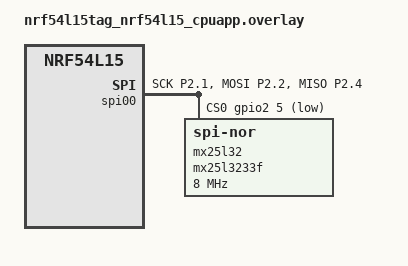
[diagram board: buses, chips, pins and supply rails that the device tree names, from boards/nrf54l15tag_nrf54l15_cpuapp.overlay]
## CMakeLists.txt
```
cmake_minimum_required(VERSION 3.20.0)

find_package(Zephyr REQUIRED HINTS $ENV{ZEPHYR_BASE})
project(tag_nor_dpd LANGUAGES C)

target_sources(app PRIVATE src/main.c)
```

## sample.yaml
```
sample:
  name: Tag NOR Deep Power-Down Isolation Test
  description: >
    HIL: stress MX25L3233F reads/writes/reboots with runtime-PM deep power-down
    (as in juxta6-0-prod 6.5.2) in the last 64 KB only. Reports one RESULT line.

common:
  tags:
    - tag
    - bringup
    - flash

tests:
  applications.tag-nor-dpd:
    platform_allow:
      - nrf54l15tag/nrf54l15/cpuapp
    harness: console
```

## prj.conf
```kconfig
# HIL: MX25L3233F deep power-down (runtime PM) isolation test for juxta6-0-prod.
# Mirrors the prod NOR/PM configuration; see README.md.
CONFIG_FLASH=y
CONFIG_SPI=y
CONFIG_SPI_NOR=y
CONFIG_SPI_NOR_SFDP_RUNTIME=y
CONFIG_FLASH_PAGE_LAYOUT=y
CONFIG_PM_DEVICE=y
# Control build (rpm_off.conf) sets this to n. Driver default
# CONFIG_SPI_NOR_ACTIVE_DWELL_MS=10 is intentionally kept, same as prod.
CONFIG_PM_DEVICE_RUNTIME=y
CONFIG_HWINFO=y
CONFIG_REBOOT=y

CONFIG_LOG=y
CONFIG_LOG_DEFAULT_LEVEL=3

CONFIG_MAIN_STACK_SIZE=4096
```

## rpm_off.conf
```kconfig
# Control build: no runtime PM, so the NOR is never put into deep power-down
# between flash API calls (the DT zephyr,pm-device-runtime-auto is inert).
CONFIG_PM_DEVICE_RUNTIME=n
```

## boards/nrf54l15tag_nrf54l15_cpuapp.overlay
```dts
/*
 * tag-nor-dpd: MX25L3233F (32 Mbit) on spi00, identical NOR node to
 * juxta6-0-prod (has-dpd + zephyr,pm-device-runtime-auto + deferred-init).
 * Keep in sync with applications/juxta6-0-prod/boards/*.overlay.
 */

/ {
	aliases {
		spi-flash0 = &mx25l32;
		spi-mem = &mx25l32;
	};
};

&pinctrl {
	spi00_default: spi00_default {
		group1 {
			psels = <NRF_PSEL(SPIM_SCK, 2, 1)>,
				<NRF_PSEL(SPIM_MOSI, 2, 2)>,
				<NRF_PSEL(SPIM_MISO, 2, 4)>;
		};
	};

	spi00_sleep: spi00_sleep {
		group1 {
			psels = <NRF_PSEL(SPIM_SCK, 2, 1)>,
				<NRF_PSEL(SPIM_MOSI, 2, 2)>,
				<NRF_PSEL(SPIM_MISO, 2, 4)>;
			low-power-enable;
		};
	};
};

&spi00 {
	status = "okay";
	cs-gpios = <&gpio2 5 GPIO_ACTIVE_LOW>;
	pinctrl-0 = <&spi00_default>;
	pinctrl-1 = <&spi00_sleep>;
	pinctrl-names = "default", "sleep";

	mx25l32: mx25l3233f@0 {
		compatible = "jedec,spi-nor";
		status = "okay";
		reg = <0>;
		spi-max-frequency = <8000000>;
		jedec-id = [c2 20 16];
		size = <0x2000000>; /* 32 Mbit = 4 MiB */
		has-dpd;
		t-enter-dpd = <10000>;
		t-exit-dpd = <100000>;
		/* Suspend into deep power-down between flash API calls. */
		zephyr,pm-device-runtime-auto;
		zephyr,deferred-init;
	};
};
```

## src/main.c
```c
/*
 * tag-nor-dpd: isolate whether MX25L3233F deep power-down via Zephyr runtime
 * PM (juxta6-0-prod 6.5.2) can return non-erased junk when reading erased
 * flash, or corrupt reads/writes of valid data.
 *
 * Background: a prod JXV file reported a stored length ending exactly 0x20200,
 * ~100 KB past the real data, which means a boot-time find_eof_or_erased()
 * scan read ~400 consecutive 256-byte chunks of erased flash as non-0xFF.
 *
 * Scratch area: ONLY the last 64 KB (0x3F0000..0x3FFFFF), prod's checkpoint
 * ring. The CSV regions are never touched (reads beyond that are read-only).
 *
 * Flow (state in __noinit RAM across reboots):
 *   fresh boot : erase scratch, write ~29.7 KB of CSV-like rows (no 0xFF),
 *                stress (a) back-to-back scans, (b) scans spaced past the DPD
 *                dwell, (c) per-read jitter around the dwell, then append
 *                rows with random gaps, then time a full-chip read.
 *   boot loop  : 200 cold reboots mirroring prod boot order; odd boots reboot
 *                right after the last read (chip awake), even boots wait past
 *                the dwell first (chip in DPD at reset).
 * Result: one "[DPD] RESULT PASS|FAIL ..." line (repeated every 10 s at end).
 */

#include <errno.h>
#include <stdio.h>
#include <string.h>

#include <zephyr/device.h>
#include <zephyr/devicetree.h>
#include <zephyr/drivers/flash.h>
#include <zephyr/drivers/hwinfo.h>
#include <zephyr/kernel.h>
#include <zephyr/logging/log.h>
#include <zephyr/logging/log_ctrl.h>
#include <zephyr/pm/device.h>
#include <zephyr/sys/reboot.h>
#include <zephyr/sys/util.h>

LOG_MODULE_REGISTER(tag_nor_dpd, LOG_LEVEL_INF);

#if !DT_NODE_EXISTS(DT_ALIAS(spi_mem))
#error "Enable MX25L3233F via boards/nrf54l15tag_nrf54l15_cpuapp.overlay (alias spi-mem)"
#endif

#define FLASH_NODE DT_ALIAS(spi_mem)

#define SCRATCH_START 0x3F0000U
#define SCRATCH_SIZE 0x010000U
#define CHUNK 256U /* same read size as prod find_eof_or_erased */
#define EXP_CAP 0x9000U
#define SETUP_TARGET 29700U
#define TAIL_CHECK 4096U /* erased bytes verified after the data end */

#define STRESS_A_SCANS 2000U
#define STRESS_B_SCANS 500U
#define STRESS_C_SCANS 500U
#define STRESS_C_CHUNKS 16U
#define WRITE_ROWS 200U
#define BOOT_TARGET 200U
#define FULL_READ_END 0x3F0000U /* read-only timing check: 0 .. scratch start */
#define FULL_READ_CHUNK 4096U

#define STATE_MAGIC 0x4450444EU /* 'DPDN' */
#define STAGE_BOOT_LOOP 1U

struct test_state {
	uint32_t magic;
	uint32_t stage;
	uint32_t rows; /* rows currently in flash */
	uint32_t boots_done;
	uint32_t scans;
	uint32_t scan_fail;
	uint32_t write_fail;
	uint32_t read_ms;
	uint32_t read_fail;
};

static __noinit struct test_state st;

static const struct device *const flash = DEVICE_DT_GET(FLASH_NODE);
static uint8_t exp_img[EXP_CAP];
static uint32_t exp_len;
static uint8_t buf[FULL_READ_CHUNK];
static uint32_t rng_state;

static const char *rpm_str(void)
{
	return IS_ENABLED(CONFIG_PM_DEVICE_RUNTIME) ? "on" : "off";
}

static uint32_t rnd(void)
{
	rng_state ^= rng_state << 13;
	rng_state ^= rng_state >> 17;
	rng_state ^= rng_state << 5;
	return rng_state;
}

static void sleep_rand_ms(uint32_t lo, uint32_t hi)
{
	if (hi == 0U) {
		return;
	}
	k_sleep(K_MSEC(lo + (rnd() % (hi - lo + 1U))));
}

/* ---- deterministic reference image -------------------------------------- */

static int make_row(uint32_t i, char *out, size_t n)
{
	return snprintf(out, n, "%u,%u,%d.%02d,%d.%d,%d.%d\n", 4000U + i * 60U, (i * 37U) % 256U, 3,
			(int)(i % 100U), 20 + (int)(i % 9U), (int)(i % 10U), 30 + (int)(i % 20U),
			(int)((i * 7U) % 10U));
}

static bool append_exp_row(uint32_t i)
{
	char row[48];
	int n = make_row(i, row, sizeof(row));

	if (n <= 0 || exp_len + (uint32_t)n > EXP_CAP) {
		return false;
	}
	memcpy(&exp_img[exp_len], row, (size_t)n);
	exp_len += (uint32_t)n;
	return true;
}

static void build_exp(uint32_t rows)
{
	memset(exp_img, 0xFF, sizeof(exp_img));
	exp_len = 0U;
	for (uint32_t i = 0U; i < rows; i++) {
		(void)append_exp_row(i);
	}
}

static uint8_t ref_at(uint32_t rel)
{
	return rel < exp_len ? exp_img[rel] : 0xFFU;
}

/* ---- checked reads ------------------------------------------------------ */

static void log_mismatch(uint32_t rel, size_t len, size_t bad_i, const uint8_t *data)
{
	enum pm_device_state pm;
	int pm_rc = pm_device_state_get(flash, &pm);
	size_t nonff = 0U;
	for (size_t i = 0U; i < len; i++) {
		if (data[i] != 0xFFU) {
			nonff++;
		}
	}
	LOG_ERR("[DPD] MISMATCH off=0x%06x exp=0x%02x got=0x%02x chunk_rel=0x%05x len=%u "
		"nonFF_in_chunk=%u pm_state=%d",
		(unsigned int)(SCRATCH_START + rel + bad_i), ref_at(rel + (uint32_t)bad_i),
		data[bad_i], (unsigned int)rel, (unsigned int)len, (unsigned int)nonff,
		pm_rc == 0 ? (int)pm : -1);
	LOG_HEXDUMP_ERR(data, MIN(len, (size_t)16U), "[DPD] chunk head");
}

/* Read [rel, rel+len) (<= CHUNK) from scratch and compare to the reference. */
static bool read_check(uint32_t rel, size_t len)
{
	int rc = flash_read(flash, SCRATCH_START + rel, buf, len);

	if (rc != 0) {
		LOG_ERR("[DPD] flash_read rc=%d @0x%06x", rc, (unsigned int)(SCRATCH_START + rel));
		return false;
	}
	for (size_t i = 0U; i < len; i++) {
		if (buf[i] != ref_at(rel + (uint32_t)i)) {
			log_mismatch(rel, len, i, buf);
			return false;
		}
	}
	return true;
}

/*
 * Prod find_eof_or_erased equivalent: 256 B chunk reads until the first 0xFF,
 * with every byte before it also compared to the reference. Then the erased
 * tail (TAIL_CHECK bytes) is verified. Optional per-read jitter.
 */
static bool scan_once(uint32_t jit_lo, uint32_t jit_hi)
{
	uint32_t found_end = SCRATCH_SIZE;
	bool ok = true;
	uint32_t off = 0U;

	while (off < SCRATCH_SIZE) {
		size_t len = MIN(CHUNK, SCRATCH_SIZE - off);
		int rc = flash_read(flash, SCRATCH_START + off, buf, len);
		bool hit = false;

		if (rc != 0) {
			LOG_ERR("[DPD] scan read rc=%d @0x%06x", rc,
				(unsigned int)(SCRATCH_START + off));
			ok = false;
			break;
		}
		for (size_t i = 0U; i < len; i++) {
			if (buf[i] == 0xFFU) {
				found_end = off + (uint32_t)i;
				hit = true;
				break;
			}
			if (buf[i] != ref_at(off + (uint32_t)i)) {
				log_mismatch(off, len, i, buf);
				ok = false;
				hit = true;
				found_end = off + (uint32_t)i;
				break;
			}
		}
		if (hit) {
			break;
		}
		off += (uint32_t)len;
		sleep_rand_ms(jit_lo, jit_hi);
	}

	if (ok && found_end != exp_len) {
		LOG_ERR("[DPD] SCAN END MISMATCH found=%u expected=%u", (unsigned int)found_end,
			(unsigned int)exp_len);
		ok = false;
	}
	if (ok) {
		uint32_t t = exp_len;
		uint32_t t_end = MIN(exp_len + TAIL_CHECK, SCRATCH_SIZE);

		while (ok && t < t_end) {
			size_t len = MIN(CHUNK, t_end - t);

			ok = read_check(t, len);
			t += (uint32_t)len;
			sleep_rand_ms(jit_lo, jit_hi);
		}
	}

	st.scans++;
	if (!ok) {
		st.scan_fail++;
	}
	return ok;
}

/* Random 16-chunk window with jitter between reads (races put_async vs get). */
static bool window_check(uint32_t jit_lo, uint32_t jit_hi)
{
	uint32_t span_chunks = (MIN(exp_len + TAIL_CHECK, SCRATCH_SIZE)) / CHUNK;
	uint32_t first = rnd() % (span_chunks - STRESS_C_CHUNKS + 1U);
	bool ok = true;

	for (uint32_t c = 0U; c < STRESS_C_CHUNKS && ok; c++) {
		ok = read_check((first + c) * CHUNK, CHUNK);
		sleep_rand_ms(jit_lo, jit_hi);
	}
	st.scans++;
	if (!ok) {
		st.scan_fail++;
	}
	return ok;
}

/* ---- phases ------------------------------------------------------------- */

static int deferred_nor_init(void)
{
	int err = device_init(flash);

	if (err == -EALREADY) {
		return device_is_ready(flash) ? 0 : -ENODEV;
	}
	return err;
}

static void print_result(void)
{
	bool pass = st.scan_fail == 0U && st.write_fail == 0U && st.read_fail == 0U &&
		    st.boots_done >= BOOT_TARGET;

	LOG_INF("[DPD] RESULT %s rpm=%s boots=%u scans=%u scan_fail=%u write_fail=%u "
		"read_fail=%u read_3p94MB_ms=%u",
		pass ? "PASS" : "FAIL", rpm_str(), (unsigned int)st.boots_done,
		(unsigned int)st.scans, (unsigned int)st.scan_fail, (unsigned int)st.write_fail,
		(unsigned int)st.read_fail, (unsigned int)st.read_ms);
}

static void halt_with_result(void)
{
	for (;;) {
		print_result();
		k_sleep(K_SECONDS(10));
	}
}

static int phase_setup(void)
{
	int rc;

	memset(&st, 0, sizeof(st));
	st.magic = STATE_MAGIC;

	LOG_WRN("[DPD] fresh start rpm=%s: erasing last 64 KB only (0x%06x)", rpm_str(),
		SCRATCH_START);
	rc = flash_erase(flash, SCRATCH_START, SCRATCH_SIZE);
	if (rc != 0) {
		LOG_ERR("[DPD] erase rc=%d", rc);
		return rc;
	}

	exp_len = 0U;
	memset(exp_img, 0xFF, sizeof(exp_img));
	while (exp_len < SETUP_TARGET) {
		if (!append_exp_row(st.rows)) {
			return -ENOSPC;
		}
		st.rows++;
	}

	for (uint32_t off = 0U; off < exp_len; off += CHUNK) {
		size_t len = MIN(CHUNK, exp_len - off);

		rc = flash_write(flash, SCRATCH_START + off, &exp_img[off], len);
		if (rc != 0) {
			LOG_ERR("[DPD] setup write rc=%d @%u", rc, (unsigned int)off);
			return rc;
		}
	}
	LOG_INF("[DPD] setup: rows=%u bytes=%u", (unsigned int)st.rows, (unsigned int)exp_len);

	if (!scan_once(0U, 0U)) {
		LOG_ERR("[DPD] setup verify FAILED");
		return -EIO;
	}
	return 0;
}

static void phase_stress(void)
{
	LOG_INF("[DPD] stress (a): %u back-to-back scans", STRESS_A_SCANS);
	for (uint32_t i = 0U; i < STRESS_A_SCANS; i++) {
		(void)scan_once(0U, 0U);
	}
	LOG_INF("[DPD] (a) done scans=%u fail=%u", (unsigned int)st.scans,
		(unsigned int)st.scan_fail);

	LOG_INF("[DPD] stress (b): %u scans with 11-20 ms gaps (DPD resume each scan)",
		STRESS_B_SCANS);
	for (uint32_t i = 0U; i < STRESS_B_SCANS; i++) {
		sleep_rand_ms(11U, 20U);
		(void)scan_once(0U, 0U);
	}
	LOG_INF("[DPD] (b) done scans=%u fail=%u", (unsigned int)st.scans,
		(unsigned int)st.scan_fail);

	LOG_INF("[DPD] stress (c): %u windows x %u reads, 5-15 ms between reads", STRESS_C_SCANS,
		STRESS_C_CHUNKS);
	for (uint32_t i = 0U; i < STRESS_C_SCANS; i++) {
		(void)window_check(5U, 15U);
	}
	LOG_INF("[DPD] (c) done scans=%u fail=%u", (unsigned int)st.scans,
		(unsigned int)st.scan_fail);
}

static void phase_write(void)
{
	LOG_INF("[DPD] write path: appending %u rows with 0-20 ms gaps", WRITE_ROWS);
	for (uint32_t n = 0U; n < WRITE_ROWS; n++) {
		uint32_t at = exp_len;
		char row[48];
		int len;
		size_t verify_len;
		int rc;

		sleep_rand_ms(0U, 20U);
		len = make_row(st.rows, row, sizeof(row));
		if (len <= 0 || !append_exp_row(st.rows)) {
			LOG_ERR("[DPD] write path: reference overflow");
			st.write_fail++;
			return;
		}
		rc = flash_write(flash, SCRATCH_START + at, row, (size_t)len);
		if (rc != 0) {
			LOG_ERR("[DPD] row write rc=%d @%u", rc, (unsigned int)at);
			st.write_fail++;
			return;
		}
		st.rows++;
		/* Row must read back and the bytes after it must still be erased. */
		verify_len = MIN((size_t)len + 16U, CHUNK);
		if (!read_check(at, verify_len)) {
			st.write_fail++;
			return;
		}
	}
	LOG_INF("[DPD] write path done rows=%u bytes=%u", (unsigned int)st.rows,
		(unsigned int)exp_len);
}

static void phase_full_read(void)
{
	int64_t t0 = k_uptime_get();

	for (uint32_t off = 0U; off < FULL_READ_END; off += FULL_READ_CHUNK) {
		int rc = flash_read(flash, off, buf, FULL_READ_CHUNK);

		if (rc != 0) {
			LOG_ERR("[DPD] full read rc=%d @0x%06x", rc, (unsigned int)off);
			st.read_fail++;
			break;
		}
	}
	st.read_ms = (uint32_t)(k_uptime_get() - t0);
	LOG_INF("[DPD] full read 0..0x%06x in 4 KB reads: %u ms", FULL_READ_END,
		(unsigned int)st.read_ms);
}

int main(void)
{
	uint32_t cause = 0U;
	int err;

	rng_state = k_cycle_get_32() | 1U;
	(void)hwinfo_get_reset_cause(&cause);
	(void)hwinfo_clear_reset_cause();

	/* Same order as prod: contact-settle sleep, then deferred device_init. */
	k_sleep(K_MSEC(500));
	err = deferred_nor_init();
	if (err != 0) {
		LOG_ERR("[DPD] NOR init FAILED rc=%d", err);
		return err;
	}

	if (st.magic != STATE_MAGIC) {
		err = phase_setup();
		if (err != 0) {
			st.write_fail++;
			halt_with_result();
		}
		phase_stress();
		phase_write();
		if (st.write_fail != 0U) {
			halt_with_result();
		}
		phase_full_read();
		st.stage = STAGE_BOOT_LOOP;
		LOG_INF("[DPD] boot loop: %u cold reboots", BOOT_TARGET);
		k_sleep(K_MSEC(100));
		sys_reboot(SYS_REBOOT_COLD);
	}

	if (st.stage != STAGE_BOOT_LOOP) {
		halt_with_result();
	}

	build_exp(st.rows);

	/* Scan immediately after init, like juxta_log_init's boot re-measure. */
	(void)scan_once(0U, 0U);
	st.boots_done++;
	LOG_INF("[DPD] boot %u/%u reset_cause=0x%x scans=%u scan_fail=%u variant=%s",
		(unsigned int)st.boots_done, BOOT_TARGET, (unsigned int)cause,
		(unsigned int)st.scans, (unsigned int)st.scan_fail,
		(st.boots_done % 2U) ? "reset-awake" : "reset-in-dpd");

	if (st.boots_done >= BOOT_TARGET) {
		halt_with_result();
	}

	if ((st.boots_done % 2U) != 0U) {
		/* Reset right after the last read: chip still inside the dwell. */
		LOG_PANIC();
	} else {
		/* Wait past the dwell so the chip is in DPD at reset. */
		k_sleep(K_MSEC(100));
	}
	sys_reboot(SYS_REBOOT_COLD);
	return 0;
}
```
